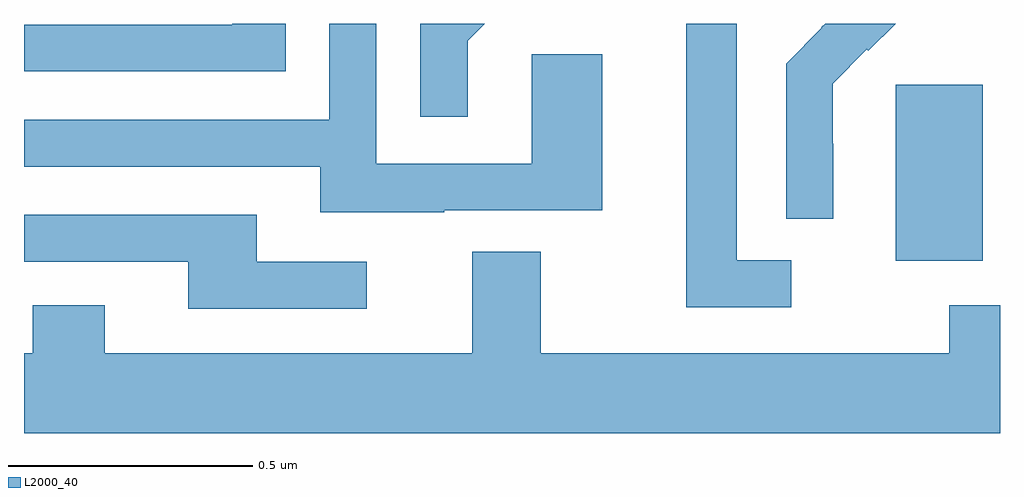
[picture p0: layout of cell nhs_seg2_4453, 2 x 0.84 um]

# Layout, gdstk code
import gdstk
lib = gdstk.Library(unit=1e-6, precision=1e-09)
def R(c, l, rs):  # rectangles x0, y0, x1, y1
    for r in rs: c.add(gdstk.rectangle(r[:2], r[2:], *l))
def P(c, l, *ps):  # polygons
    for p in ps: c.add(gdstk.Polygon(p, *l))
L2000_40 = (2000, 40)

nhs_seg2_4453 = lib.new_cell('nhs_seg2_4453')
R(nhs_seg2_4453, L2000_40, [(167.786,657.314,167.965,657.675)])
P(nhs_seg2_4453, L2000_40, [(166.536,657.8),(166.427,657.8),(166.427,657.798),(166,657.798),(166,657.702),(166.536,657.702)],
  [(167.658,657.554),(167.657,657.554),(167.657,657.677),(167.727,657.747),(167.73,657.744),(167.786,657.8),(167.642,657.8),(167.634,657.792),(167.635,657.791),(167.562,657.718),(167.562,657.4),(167.658,657.4)],
  [(166.861,657.417),(167.185,657.417),(167.185,657.737),(167.04,657.737),(167.04,657.513),(166.722,657.513),(166.722,657.8),(166.626,657.8),(166.626,657.603),(166,657.603),(166,657.507),(166.607,657.507),(166.607,657.413),(166.861,657.413)],
  [(166.909,657.765),(166.944,657.8),(166.812,657.8),(166.812,657.609),(166.909,657.609)],
  [(167.572,657.315),(167.461,657.315),(167.461,657.8),(167.357,657.8),(167.357,657.219),(167.572,657.219)],
  [(166.702,657.312),(166.477,657.312),(166.477,657.408),(166,657.408),(166,657.312),(166.337,657.312),(166.337,657.216),(166.702,657.216)],
  [(168,657.223),(167.896,657.223),(167.896,657.124),(167.059,657.124),(167.059,657.332),(166.919,657.332),(166.919,657.124),(166.165,657.124),(166.165,657.223),(166.018,657.223),(166.018,657.124),(166,657.124),(166,656.96),(168,656.96)])

lib.write_gds('nhs_seg2_4453.gds')
